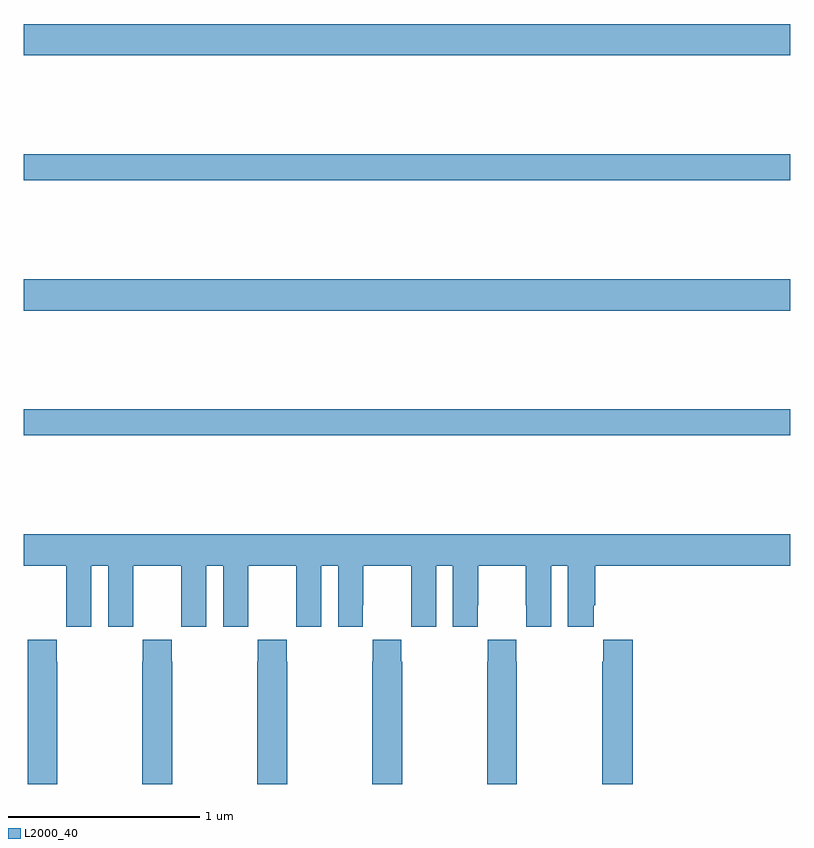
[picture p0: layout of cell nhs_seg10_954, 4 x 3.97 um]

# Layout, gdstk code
import gdstk
lib = gdstk.Library(unit=1e-6, precision=1e-09)
def R(c, l, rs):  # rectangles x0, y0, x1, y1
    for r in rs: c.add(gdstk.rectangle(r[:2], r[2:], *l))
def P(c, l, *ps):  # polygons
    for p in ps: c.add(gdstk.Polygon(p, *l))
L2000_40 = (2000, 40)

nhs_seg10_954 = lib.new_cell('nhs_seg10_954')
R(nhs_seg10_954, L2000_40, [(159,1310.32,163,1310.456), (159,1310.972,163,1311.136), (159,1311.652,163,1311.788), (159,1312.304,163,1312.468)])
P(nhs_seg10_954, L2000_40, [(159.352,1309.64),(159.44,1309.64),(159.44,1309.32),(159.57,1309.32),(159.57,1309.432),(159.571,1309.432),(159.571,1309.64),(159.821,1309.64),(159.821,1309.432),(159.822,1309.432),(159.822,1309.32),(159.952,1309.32),(159.952,1309.64),(160.04,1309.64),(160.04,1309.32),(160.17,1309.32),(160.17,1309.432),(160.171,1309.432),(160.171,1309.64),(160.421,1309.64),(160.421,1309.432),(160.422,1309.432),(160.422,1309.32),(160.552,1309.32),(160.552,1309.64),(160.64,1309.64),(160.64,1309.32),(160.77,1309.32),(160.77,1309.432),(160.771,1309.432),(160.771,1309.64),(161.021,1309.64),(161.021,1309.432),(161.022,1309.432),(161.022,1309.32),(161.152,1309.32),(161.152,1309.64),(161.24,1309.64),(161.24,1309.32),(161.37,1309.32),(161.37,1309.432),(161.371,1309.432),(161.371,1309.64),(161.621,1309.64),(161.621,1309.432),(161.622,1309.432),(161.622,1309.32),(161.752,1309.32),(161.752,1309.64),(161.84,1309.64),(161.84,1309.32),(161.974,1309.32),(161.974,1309.432),(161.984,1309.432),(161.984,1309.64),(163,1309.64),(163,1309.804),(159,1309.804),(159,1309.64),(159.221,1309.64),(159.221,1309.432),(159.222,1309.432),(159.222,1309.32),(159.352,1309.32)],
  [(159.174,1309.139),(159.171,1309.139),(159.171,1309.252),(159.021,1309.252),(159.021,1309.139),(159.019,1309.139),(159.019,1308.5),(159.174,1308.5)],
  [(160.374,1309.139),(160.371,1309.139),(160.371,1309.252),(160.221,1309.252),(160.221,1309.139),(160.219,1309.139),(160.219,1308.5),(160.374,1308.5)],
  [(160.974,1309.139),(160.971,1309.139),(160.971,1309.252),(160.821,1309.252),(160.821,1309.139),(160.819,1309.139),(160.819,1308.5),(160.974,1308.5)],
  [(161.574,1309.139),(161.571,1309.139),(161.571,1309.252),(161.421,1309.252),(161.421,1309.139),(161.419,1309.139),(161.419,1308.5),(161.574,1308.5)],
  [(162.179,1309.252),(162.025,1309.252),(162.025,1309.139),(162.019,1309.139),(162.019,1308.5),(162.179,1308.5)],
  [(159.774,1309.139),(159.771,1309.139),(159.771,1309.252),(159.621,1309.252),(159.621,1309.139),(159.619,1309.139),(159.619,1308.5),(159.774,1308.5)])

lib.write_gds('nhs_seg10_954.gds')
